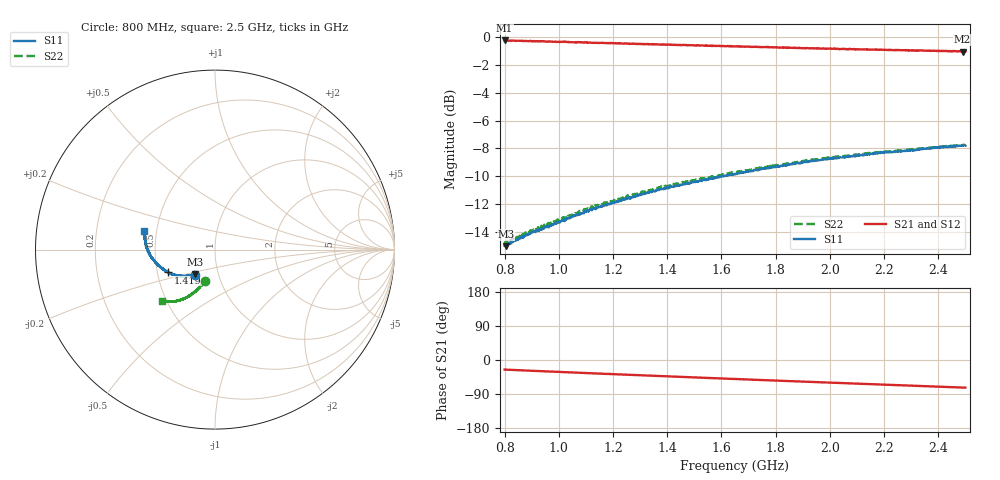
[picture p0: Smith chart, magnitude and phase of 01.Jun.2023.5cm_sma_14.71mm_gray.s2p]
!Keysight Technologies N9950B: A.12.38
!Date: Thursday, 01 June 2023 13:40:10
!Timezone: (UTC-06:00) Central Time (US & Canada)
!Model: N9950B
!Serial: MY61131330
!GPS Latitude:
!GPS Longitude:
!GPS TimeStamp: 0001-01-01 00:00:00Z
!GPS Seconds Since Last Read: 0
!CHECKSUM:0321931121
!Correction: S11(ON U)S21(ON U)S12(ON U)S22(ON U)
!S2P File: Measurements:S11,S21,S12,S22:
# Hz S DB R 50
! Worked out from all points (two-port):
!   1001 points, 800 MHz to 2.5 GHz, reference 50 ohm
!   highest |S21| = -0.26 dB at 800 MHz (marker M1); lowest = -1.1 dB at 2.49 GHz (marker M2)
!   |S21| within 3 dB of the highest: start of sweep to end of sweep
!   lowest |S11| = -15.0 dB at 805.1 MHz (marker M3), VSWR 1.43, Z = 38.6 - j11 ohm
!   |S11| at or under -10 dB: start of sweep to 1.601 GHz; 1.606437 GHz to 1.607996 GHz (1.559 MHz wide, 0.097 % of centre)
!   |S22| runs from -14.8 to -7.7 dB; largest |S21 - S12| = 0.0049
!   S11 on the Smith chart (normalised r, x): 800 MHz: 0.77, -0.22; 1.419 GHz: 0.57, -0.16; 2.5 GHz: 0.43, +0.11
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8e8  -14.97 -128.4  -0.26 -25.3  -0.26 -25.3  -14.81 -108.4
8.051e8  -15.01 -129.0  -0.26 -25.5  -0.28 -25.5  -14.83 -108.0
8.187e8  -14.80 -129.5  -0.28 -25.9  -0.27 -26.0  -14.62 -108.6
8.374e8  -14.63 -130.2  -0.28 -26.5  -0.27 -26.5  -14.38 -108.7
9.037e8  -13.99 -133.3  -0.32 -28.5  -0.31 -28.5  -13.90 -109.7
9.717e8  -13.48 -136.1  -0.34 -30.7  -0.35 -30.5  -13.36 -111.2
1.055e9  -12.87 -139.0  -0.39 -33.0  -0.39 -33.0  -12.65 -112.7
1.0839e9  -12.68 -140.5  -0.40 -33.8  -0.40 -33.9  -12.50 -113.1
1.1281e9  -12.33 -142.5  -0.43 -35.1  -0.43 -35.2  -12.18 -114.4
1.1638e9  -12.12 -143.7  -0.43 -36.3  -0.43 -36.2  -11.96 -114.6
1.2811e9  -11.45 -148.5  -0.51 -39.7  -0.49 -39.7  -11.25 -117.0
1.3678e9  -10.99 -151.8  -0.54 -42.2  -0.56 -42.2  -10.83 -118.2
1.4188e9  -10.76 -154.0  -0.58 -43.5  -0.57 -43.6  -10.64 -119.0
1.5395e9  -10.29 -158.9  -0.65 -47.1  -0.64 -47.0  -10.14 -121.0
1.65e9  -9.84 -163.2  -0.70 -50.0  -0.68 -50.3  -9.69 -122.8
1.7656e9  -9.43 -167.8  -0.72 -53.2  -0.74 -53.4  -9.32 -124.5
1.9339e9  -8.92 -173.8  -0.82 -57.9  -0.84 -58.0  -8.79 -127.3
2.0801e9  -8.56 -178.8  -0.89 -61.8  -0.89 -61.8  -8.51 -129.6
2.2178e9  -8.28 176.1  -0.94 -65.4  -0.94 -65.5  -8.21 -131.9
2.3963e9  -7.91 169.3  -0.99 -70.2  -1.02 -70.3  -7.90 -134.3
2.4898e9  -7.81 165.6  -1.05 -72.8  -1.06 -72.7  -7.76 -135.6
2.5e9  -7.80 165.2  -1.05 -73.0  -1.05 -72.9  -7.73 -135.6
